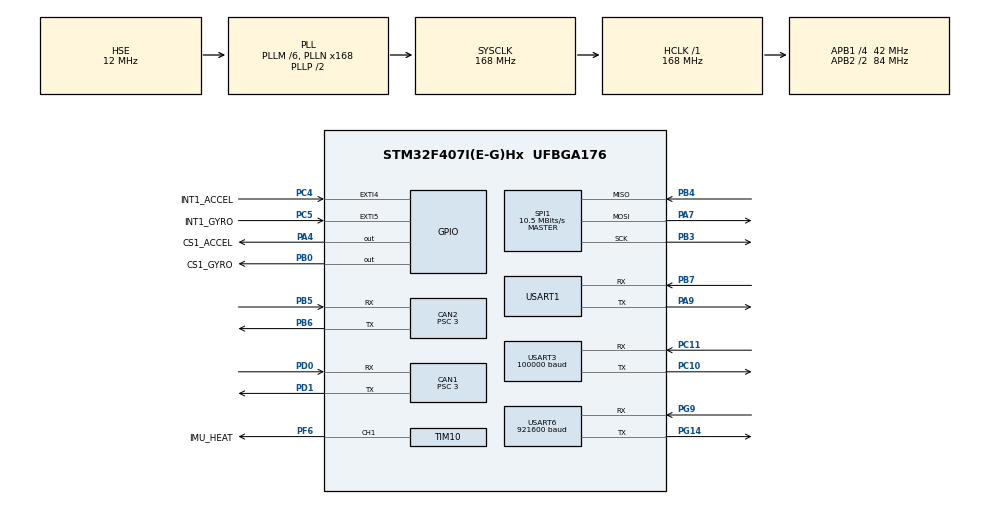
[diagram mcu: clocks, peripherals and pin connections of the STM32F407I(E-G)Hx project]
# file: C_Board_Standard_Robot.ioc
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CAN1.BS1=CAN_BS1_10TQ
CAN1.BS2=CAN_BS2_3TQ
CAN1.CalculateBaudRate=1000000
CAN1.CalculateTimeBit=1000
CAN1.CalculateTimeQuantum=71.42857142857143
CAN1.Prescaler=3
CAN2.BS1=CAN_BS1_10TQ
CAN2.BS2=CAN_BS2_3TQ
CAN2.CalculateBaudRate=1000000
CAN2.CalculateTimeBit=1000
CAN2.CalculateTimeQuantum=71.42857142857143
CAN2.Prescaler=3
Dma.Request0=SPI1_RX
Dma.Request1=SPI1_TX
Dma.Request2=USART3_RX
Dma.Request3=USART6_RX
Dma.Request4=USART6_TX
Dma.SPI1_RX.0.Direction=DMA_PERIPH_TO_MEMORY
Dma.SPI1_RX.0.FIFOMode=DMA_FIFOMODE_DISABLE
Dma.SPI1_RX.0.Instance=DMA2_Stream2
Dma.SPI1_RX.0.MemDataAlignment=DMA_MDATAALIGN_BYTE
Dma.SPI1_RX.0.MemInc=DMA_MINC_ENABLE
Dma.SPI1_RX.0.Mode=DMA_NORMAL
Dma.SPI1_RX.0.PeriphDataAlignment=DMA_PDATAALIGN_BYTE
Dma.SPI1_RX.0.PeriphInc=DMA_PINC_DISABLE
Dma.SPI1_RX.0.Priority=DMA_PRIORITY_VERY_HIGH
Dma.SPI1_TX.1.Direction=DMA_MEMORY_TO_PERIPH
Dma.SPI1_TX.1.FIFOMode=DMA_FIFOMODE_DISABLE
Dma.SPI1_TX.1.Instance=DMA2_Stream3
Dma.SPI1_TX.1.MemDataAlignment=DMA_MDATAALIGN_BYTE
Dma.SPI1_TX.1.MemInc=DMA_MINC_ENABLE
Dma.SPI1_TX.1.Mode=DMA_NORMAL
Dma.SPI1_TX.1.PeriphDataAlignment=DMA_PDATAALIGN_BYTE
Dma.SPI1_TX.1.PeriphInc=DMA_PINC_DISABLE
Dma.SPI1_TX.1.Priority=DMA_PRIORITY_HIGH
Dma.USART3_RX.2.Direction=DMA_PERIPH_TO_MEMORY
Dma.USART3_RX.2.FIFOMode=DMA_FIFOMODE_DISABLE
Dma.USART3_RX.2.Instance=DMA1_Stream1
Dma.USART3_RX.2.MemDataAlignment=DMA_MDATAALIGN_BYTE
Dma.USART3_RX.2.MemInc=DMA_MINC_ENABLE
Dma.USART3_RX.2.Mode=DMA_CIRCULAR
Dma.USART3_RX.2.PeriphDataAlignment=DMA_PDATAALIGN_BYTE
Dma.USART3_RX.2.PeriphInc=DMA_PINC_DISABLE
Dma.USART3_RX.2.Priority=DMA_PRIORITY_VERY_HIGH
Dma.USART6_RX.3.Direction=DMA_PERIPH_TO_MEMORY
Dma.USART6_RX.3.FIFOMode=DMA_FIFOMODE_DISABLE
Dma.USART6_RX.3.Instance=DMA2_Stream1
Dma.USART6_RX.3.MemDataAlignment=DMA_MDATAALIGN_BYTE
Dma.USART6_RX.3.MemInc=DMA_MINC_ENABLE
Dma.USART6_RX.3.Mode=DMA_CIRCULAR
Dma.USART6_RX.3.PeriphDataAlignment=DMA_PDATAALIGN_BYTE
Dma.USART6_RX.3.PeriphInc=DMA_PINC_DISABLE
Dma.USART6_RX.3.Priority=DMA_PRIORITY_HIGH
Dma.USART6_TX.4.Direction=DMA_MEMORY_TO_PERIPH
Dma.USART6_TX.4.FIFOMode=DMA_FIFOMODE_DISABLE
Dma.USART6_TX.4.Instance=DMA2_Stream6
Dma.USART6_TX.4.MemDataAlignment=DMA_MDATAALIGN_BYTE
Dma.USART6_TX.4.MemInc=DMA_MINC_ENABLE
Dma.USART6_TX.4.Mode=DMA_CIRCULAR
Dma.USART6_TX.4.PeriphDataAlignment=DMA_PDATAALIGN_BYTE
Dma.USART6_TX.4.PeriphInc=DMA_PINC_DISABLE
Dma.USART6_TX.4.Priority=DMA_PRIORITY_LOW
FREERTOS.Queues01=myQueue01,16,uint16_t,0,Dynamic,NULL,NULL;myQueue02,16,uint16_t,0,Dynamic,NULL,NULL;myQueue03,16,uint16_t,0,Dynamic,NULL,NULL;myQueue04,16,uint16_t,0,Dynamic,NULL,NULL;myQueue05,16,uint16_t,0,Dynamic,NULL,NULL;myQueue06,16,uint16_t,0,Dynamic,NULL,NULL;myQueue07,16,uint16_t,0,Dynamic,NULL,NULL
FREERTOS.Tasks01=defaultTask,24,128,StartDefaultTask,Default,NULL,Dynamic,NULL,NULL;myTask02,25,128,StartTask02,Default,NULL,Dynamic,NULL,NULL;myTask03,8,128,StartTask03,Default,NULL,Dynamic,NULL,NULL;myTask04,41,128,StartTask04,Default,NULL,Dynamic,NULL,NULL;myTask05,25,128,StartTask05,Default,NULL,Dynamic,NULL,NULL;myTask06,26,128,StartTask06,Default,NULL,Dynamic,NULL,NULL;myTask07,25,128,StartTask07,Default,NULL,Dynamic,NULL,NULL;myTask08,40,128,StartTask08,Default,NULL,Dynamic,NULL,NULL
FREERTOS.configTOTAL_HEAP_SIZE=15360
Mcu.Family=STM32F4
Mcu.Name=STM32F407I(E-G)Hx
Mcu.Package=UFBGA176
NVIC.CAN1_RX0_IRQn=true\:5\:0\:false\:false\:true\:true\:true\:true\:true
NVIC.CAN1_RX1_IRQn=true\:5\:0\:false\:false\:true\:true\:true\:true\:true
NVIC.CAN1_TX_IRQn=true\:5\:0\:false\:false\:true\:true\:true\:true\:true
NVIC.CAN2_RX0_IRQn=true\:5\:0\:false\:false\:true\:true\:true\:true\:true
NVIC.CAN2_RX1_IRQn=true\:5\:0\:false\:false\:true\:true\:true\:true\:true
NVIC.CAN2_TX_IRQn=true\:5\:0\:false\:false\:true\:true\:true\:true\:true
NVIC.DMA1_Stream1_IRQn=true\:5\:0\:false\:false\:true\:true\:false\:true\:true
NVIC.DMA2_Stream1_IRQn=true\:5\:0\:false\:false\:true\:true\:false\:true\:true
NVIC.DMA2_Stream2_IRQn=true\:5\:0\:true\:false\:false\:true\:false\:true\:true
NVIC.DMA2_Stream3_IRQn=true\:5\:0\:true\:false\:false\:true\:false\:true\:true
NVIC.DMA2_Stream6_IRQn=true\:5\:0\:false\:false\:true\:true\:false\:true\:true
NVIC.EXTI4_IRQn=true\:5\:0\:true\:false\:true\:true\:true\:true\:true
NVIC.EXTI9_5_IRQn=true\:5\:0\:true\:false\:true\:true\:true\:true\:true
NVIC.PriorityGroup=NVIC_PRIORITYGROUP_4
NVIC.TIM2_IRQn=true\:15\:0\:false\:false\:true\:false\:false\:true\:true
NVIC.TimeBase=TIM2_IRQn
NVIC.TimeBaseIP=TIM2
NVIC.USART1_IRQn=true\:5\:0\:false\:false\:true\:true\:true\:true\:true
NVIC.USART6_IRQn=true\:5\:0\:false\:false\:true\:true\:true\:true\:true
PA13.Mode=Serial_Wire
PA13.Signal=SYS_JTMS-SWDIO
PA14.Mode=Serial_Wire
PA14.Signal=SYS_JTCK-SWCLK
PA4.GPIO_Label=CS1_ACCEL
PA4.GPIO_PuPd=GPIO_PULLUP
PA4.GPIO_Speed=GPIO_SPEED_FREQ_HIGH
PA4.PinState=GPIO_PIN_SET
PA4.Signal=GPIO_Output
PA7.GPIO_PuPd=GPIO_PULLUP
PA7.Mode=Full_Duplex_Master
PA7.Signal=SPI1_MOSI
PA9.Mode=Asynchronous
PA9.Signal=USART1_TX
PB0.GPIO_Label=CS1_GYRO
PB0.GPIO_PuPd=GPIO_PULLUP
PB0.GPIO_Speed=GPIO_SPEED_FREQ_HIGH
PB0.PinState=GPIO_PIN_SET
PB0.Signal=GPIO_Output
PB3.GPIO_PuPd=GPIO_PULLUP
PB3.Mode=Full_Duplex_Master
PB3.Signal=SPI1_SCK
PB4.GPIO_PuPd=GPIO_PULLUP
PB4.Mode=Full_Duplex_Master
PB4.Signal=SPI1_MISO
PB5.Mode=CAN_Activate
PB5.Signal=CAN2_RX
PB6.Mode=CAN_Activate
PB6.Signal=CAN2_TX
PB7.Mode=Asynchronous
PB7.Signal=USART1_RX
PC10.Mode=Asynchronous
PC10.Signal=USART3_TX
PC11.Mode=Asynchronous
PC11.Signal=USART3_RX
PC4.GPIO_Label=INT1_ACCEL
PC4.GPIO_ModeDefaultEXTI=GPIO_MODE_IT_FALLING
PC4.GPIO_PuPd=GPIO_PULLUP
PC4.Signal=GPXTI4
PC5.GPIO_Label=INT1_GYRO
PC5.GPIO_ModeDefaultEXTI=GPIO_MODE_IT_FALLING
PC5.GPIO_PuPd=GPIO_PULLUP
PC5.Signal=GPXTI5
PD0.Mode=CAN_Activate
PD0.Signal=CAN1_RX
PD1.Mode=CAN_Activate
PD1.Signal=CAN1_TX
PF6.GPIO_Label=IMU_HEAT
PF6.GPIO_PuPd=GPIO_PULLUP
PF6.GPIO_Speed=GPIO_SPEED_FREQ_HIGH
PF6.Signal=S_TIM10_CH1
PG14.Mode=Asynchronous
PG14.Signal=USART6_TX
PG9.Mode=Asynchronous
PG9.Signal=USART6_RX
PH0-OSC_IN.Mode=HSE-External-Oscillator
PH0-OSC_IN.Signal=RCC_OSC_IN
PH1-OSC_OUT.Mode=HSE-External-Oscillator
PH1-OSC_OUT.Signal=RCC_OSC_OUT
ProjectManager.HeapSize=0x2000
ProjectManager.StackSize=0x2000
ProjectManager.TargetToolchain=MDK-ARM V5.32
RCC.48MHZClocksFreq_Value=48000000
RCC.AHBFreq_Value=168000000
RCC.APB1CLKDivider=RCC_HCLK_DIV4
RCC.APB1Freq_Value=42000000
RCC.APB1TimFreq_Value=84000000
RCC.APB2CLKDivider=RCC_HCLK_DIV2
RCC.APB2Freq_Value=84000000
RCC.APB2TimFreq_Value=168000000
RCC.CortexFreq_Value=168000000
RCC.HCLKFreq_Value=168000000
RCC.HSE_VALUE=12000000
RCC.HSI_VALUE=16000000
RCC.LSE_VALUE=32768
RCC.PLLM=6
RCC.PLLN=168
RCC.PLLQ=7
RCC.PLLSourceVirtual=RCC_PLLSOURCE_HSE
RCC.RCC_RTC_Clock_SourceVirtual=RCC_RTCCLKSOURCE_HSE_DIV30
RCC.RCC_RTC_Clock_Source_FROM_HSE=RCC_RTCCLKSOURCE_HSE_DIV30
RCC.SYSCLKFreq_VALUE=168000000
RCC.SYSCLKSource=RCC_SYSCLKSOURCE_PLLCLK
RCC.VCOOutputFreq_Value=336000000
SH.S_TIM10_CH1.0=TIM10_CH1,PWM Generation1 CH1
SPI1.BaudRatePrescaler=SPI_BAUDRATEPRESCALER_8
SPI1.CLKPhase=SPI_PHASE_2EDGE
SPI1.CLKPolarity=SPI_POLARITY_HIGH
SPI1.CalculateBaudRate=10.5 MBits/s
SPI1.Direction=SPI_DIRECTION_2LINES
SPI1.Mode=SPI_MODE_MASTER
SPI1.VirtualType=VM_MASTER
TIM10.Channel=TIM_CHANNEL_1
TIM10.Period=2000-1
TIM10.Prescaler=84-1
USART1.VirtualMode=VM_ASYNC
USART3.BaudRate=100000
USART3.VirtualMode=VM_ASYNC
USART3.WordLength=WORDLENGTH_8B
USART6.BaudRate=921600
USART6.VirtualMode=VM_ASYNC
VP_FREERTOS_VS_CMSIS_V2.Mode=CMSIS_V2
VP_SYS_VS_tim2.Mode=TIM2
VP_TIM10_VS_ClockSourceINT.Mode=Enable_Timer
board=custom

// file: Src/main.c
/* USER CODE BEGIN Header */
/**
 ******************************************************************************
 * @file           : main.c
 * @brief          : Main program body
 ******************************************************************************
 * @attention
 *
 * <h2><center>&copy; Copyright (c) 2021 STMicroelectronics.
 * All rights reserved.</center></h2>
 *
 * This software component is licensed by ST under Ultimate Liberty license
 * SLA0044, the "License"; You may not use this file except in compliance with
 * the License. You may obtain a copy of the License at:
 *                             www.st.com/SLA0044
 *
 ******************************************************************************
 */
/* USER CODE END Header */
#include "main.h"
#include "cmsis_os.h"
#include "can.h"
#include "dma.h"
#include "spi.h"
#include "tim.h"
#include "usart.h"
#include "gpio.h"

/* USER CODE BEGIN Includes */
#include "BMI088driver.h"
#include "bsp_dwt.h"
#include "ins_task.h"

/* USER CODE END Includes */

/* USER CODE BEGIN PTD */
RC_Ctl_t RC_Ctl,RC_Ctl2;
uint16_t CAN2_data[8];
RC rc_Ctrl;
uint8_t Rx_data[18];
/* USER CODE END PTD */

void SystemClock_Config(void);
void MX_FREERTOS_Init(void);

int main(void)
{

  /* MCU Configuration--------------------------------------------------------*/

  /* Reset of all peripherals, Initializes the Flash interface and the Systick. */
  HAL_Init();

  /* Configure the system clock */
  SystemClock_Config();

  /* Initialize all configured peripherals */
  MX_GPIO_Init();
  MX_DMA_Init();
  MX_SPI1_Init();
  MX_TIM10_Init();
  MX_CAN1_Init();
  MX_CAN2_Init();
  MX_USART1_UART_Init();
  MX_USART3_UART_Init();
  MX_USART6_UART_Init();
  /* USER CODE BEGIN 2 */

   DWT_Init(168);
   while (BMI088_init(&hspi1, 1) != BMI088_NO_ERROR);
	HAL_Delay(2000);
  /* USER CODE END 2 */

  /* Init scheduler */
  osKernelInitialize();  /* Call init function for freertos objects (in cmsis_os2.c) */
  MX_FREERTOS_Init();

  /* Start scheduler */
  osKernelStart();

  /* We should never get here as control is now taken by the scheduler */

  /* Infinite loop */
    while (1)
    {

    }
}

void SystemClock_Config(void)
{
  RCC_OscInitTypeDef RCC_OscInitStruct = {0};
  RCC_ClkInitTypeDef RCC_ClkInitStruct = {0};

  /** Configure the main internal regulator output voltage
  */
  __HAL_RCC_PWR_CLK_ENABLE();
  __HAL_PWR_VOLTAGESCALING_CONFIG(PWR_REGULATOR_VOLTAGE_SCALE1);

  /** Initializes the RCC Oscillators according to the specified parameters
  * in the RCC_OscInitTypeDef structure.
  */
  RCC_OscInitStruct.OscillatorType = RCC_OSCILLATORTYPE_HSE;
  RCC_OscInitStruct.HSEState = RCC_HSE_ON;
  RCC_OscInitStruct.PLL.PLLState = RCC_PLL_ON;
  RCC_OscInitStruct.PLL.PLLSource = RCC_PLLSOURCE_HSE;
  RCC_OscInitStruct.PLL.PLLM = 6;
  RCC_OscInitStruct.PLL.PLLN = 168;
  RCC_OscInitStruct.PLL.PLLP = RCC_PLLP_DIV2;
  RCC_OscInitStruct.PLL.PLLQ = 7;
  if (HAL_RCC_OscConfig(&RCC_OscInitStruct) != HAL_OK)
  {
    Error_Handler();
  }

  /** Initializes the CPU, AHB and APB buses clocks
  */
  RCC_ClkInitStruct.ClockType = RCC_CLOCKTYPE_HCLK|RCC_CLOCKTYPE_SYSCLK
                              |RCC_CLOCKTYPE_PCLK1|RCC_CLOCKTYPE_PCLK2;
  RCC_ClkInitStruct.SYSCLKSource = RCC_SYSCLKSOURCE_PLLCLK;
  RCC_ClkInitStruct.AHBCLKDivider = RCC_SYSCLK_DIV1;
  RCC_ClkInitStruct.APB1CLKDivider = RCC_HCLK_DIV4;
  RCC_ClkInitStruct.APB2CLKDivider = RCC_HCLK_DIV2;

  if (HAL_RCC_ClockConfig(&RCC_ClkInitStruct, FLASH_LATENCY_5) != HAL_OK)
  {
    Error_Handler();
  }
}

void HAL_TIM_PeriodElapsedCallback(TIM_HandleTypeDef *htim)
{
  if (htim->Instance == TIM2)
  {
    HAL_IncTick();
  }
}

void Error_Handler(void)
{
}

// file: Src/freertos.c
/* USER CODE BEGIN Header */
/*该项目为秦风战队2026赛季工程挑战赛最终版代码
该项目使用c板为主控板，用freertos为模板，共分为8个任务，每个任务的内容在对应的任务前进行说明，
机器人使用全部为达妙电机。控制逻辑大部分为重补,阻力补偿加pid，只有大臂上使用了前馈来帮助pid。*/
/**
  ******************************************************************************
  * File Name          : freertos.c
  * Description        : Code for freertos applications
  ******************************************************************************
  * @attention
  *
  * Copyright (c) 2025 STMicroelectronics.
  * All rights reserved.
  *
  * This software is licensed under terms that can be found in the LICENSE file
  * in the root directory of this software component.
  * If no LICENSE file comes with this software, it is provided AS-IS.
  *
  ******************************************************************************
  */
/* USER CODE END Header */

#include "FreeRTOS.h"
#include "task.h"
#include "main.h"
#include "cmsis_os.h"

/* USER CODE BEGIN Includes */
#include "ins_task.h"
#include "drv_can.h"
#include "stdio.h"
#include "pid.h"
#include "string.h"
#include <stdlib.h>
#include <stdarg.h>
#include "motor.h"
#include "motor_can.h"
#include "dm_motor_drv.h"
#include "dm_motor_ctrl.h"
#include "properties.h"
#include "protect_Test.h"
#include "bsp_uart6.h"
#include "rm_parser.h"
#include "crc.h"
//#include <math.h>

#include "queue.h"

/* USER CODE END Includes */

/* USER CODE BEGIN PTD */
pid_type_def motor_pid[7];//存储电机的pid值
pid_type_def motor_short_pid[3];//小臂pid值
pid_type_def motor_large_pid[3];//大臂pid值
pid_type_def diff_joint_speed_pid[4];
pid_type_def diff_joint_pos_pid[4];
pid_type_def motor_yaw_pid[2];
int16_t yaw_now;
uint8_t CAN2_YAW[3];
//#include "bsp_system.h"
/* USER CODE END PTD */

/* Definitions for defaultTask */
osThreadId_t defaultTaskHandle;
const osThreadAttr_t defaultTask_attributes = {
  .name = "defaultTask",
  .stack_size = 128 * 4,
  .priority = (osPriority_t) osPriorityNormal,
};
/* Definitions for myTask02 */
osThreadId_t myTask02Handle;
const osThreadAttr_t myTask02_attributes = {
  .name = "myTask02",
  .stack_size = 128 * 4,
  .priority = (osPriority_t) osPriorityNormal1,
};
/* Definitions for myTask03 */
osThreadId_t myTask03Handle;
const osThreadAttr_t myTask03_attributes = {
  .name = "myTask03",
  .stack_size = 128 * 4,
  .priority = (osPriority_t) osPriorityLow,
};
/* Definitions for myTask04 */
osThreadId_t myTask04Handle;
const osThreadAttr_t myTask04_attributes = {
  .name = "myTask04",
  .stack_size = 128 * 4,
  .priority = (osPriority_t) osPriorityHigh1,
};
/* Definitions for myTask05 */
osThreadId_t myTask05Handle;
const osThreadAttr_t myTask05_attributes = {
  .name = "myTask05",
  .stack_size = 128 * 4,
  .priority = (osPriority_t) osPriorityNormal1,
};
/* Definitions for myTask06 */
osThreadId_t myTask06Handle;
const osThreadAttr_t myTask06_attributes = {
  .name = "myTask06",
  .stack_size = 128 * 4,
  .priority = (osPriority_t) osPriorityNormal2,
};
/* Definitions for myTask07 */
osThreadId_t myTask07Handle;
const osThreadAttr_t myTask07_attributes = {
  .name = "myTask07",
  .stack_size = 128 * 4,
  .priority = (osPriority_t) osPriorityNormal1,
};
/* Definitions for myTask08 */
osThreadId_t myTask08Handle;
const osThreadAttr_t myTask08_attributes = {
  .name = "myTask08",
  .stack_size = 128 * 4,
  .priority = (osPriority_t) osPriorityHigh,
};
/* Definitions for myQueue01 */
osMessageQueueId_t myQueue01Handle;
const osMessageQueueAttr_t myQueue01_attributes = {
  .name = "myQueue01"
};
/* Definitions for myQueue02 */
osMessageQueueId_t myQueue02Handle;
const osMessageQueueAttr_t myQueue02_attributes = {
  .name = "myQueue02"
};
/* Definitions for myQueue03 */
osMessageQueueId_t myQueue03Handle;
const osMessageQueueAttr_t myQueue03_attributes = {
  .name = "myQueue03"
};
/* Definitions for myQueue04 */
osMessageQueueId_t myQueue04Handle;
const osMessageQueueAttr_t myQueue04_attributes = {
  .name = "myQueue04"
};
/* Definitions for myQueue05 */
osMessageQueueId_t myQueue05Handle;
const osMessageQueueAttr_t myQueue05_attributes = {
  .name = "myQueue05"
};
/* Definitions for myQueue06 */
osMessageQueueId_t myQueue06Handle;
const osMessageQueueAttr_t myQueue06_attributes = {
  .name = "myQueue06"
};
/* Definitions for myQueue07 */
osMessageQueueId_t myQueue07Handle;
const osMessageQueueAttr_t myQueue07_attributes = {
  .name = "myQueue07"
};

void StartDefaultTask(void *argument);
void StartTask02(void *argument);
void StartTask03(void *argument);
void StartTask04(void *argument);
void StartTask05(void *argument);
void StartTask06(void *argument);
void StartTask07(void *argument);
void StartTask08(void *argument);

void MX_FREERTOS_Init(void); /* (MISRA C 2004 rule 8.1) */

void MX_FREERTOS_Init(void) {

  /* Create the queue(s) */
  /* creation of myQueue01 */
  myQueue01Handle = osMessageQueueNew (16, sizeof(uint16_t), &myQueue01_attributes);

  /* creation of myQueue02 */
  myQueue02Handle = osMessageQueueNew (16, sizeof(uint16_t), &myQueue02_attributes);

  /* creation of myQueue03 */
  myQueue03Handle = osMessageQueueNew (16, sizeof(uint16_t), &myQueue03_attributes);

  /* creation of myQueue04 */
  myQueue04Handle = osMessageQueueNew (16, sizeof(uint16_t), &myQueue04_attributes);

  /* creation of myQueue05 */
  myQueue05Handle = osMessageQueueNew (16, sizeof(uint16_t), &myQueue05_attributes);

  /* creation of myQueue06 */
  myQueue06Handle = osMessageQueueNew (16, sizeof(uint16_t), &myQueue06_attributes);

  /* creation of myQueue07 */
  myQueue07Handle = osMessageQueueNew (16, sizeof(uint16_t), &myQueue07_attributes);

  /* USER CODE BEGIN RTOS_QUEUES */
	//static const RC_Ctl_t dummy = {0};           // 零开销，只编译期用
//	myQueue01Handle = osMessageQueueNew (256, sizeof(RC), &myQueue01_attributes);
  /* add queues, ... */
  /* USER CODE END RTOS_QUEUES */

  /* Create the thread(s) */
  /* creation of defaultTask */
  defaultTaskHandle = osThreadNew(StartDefaultTask, NULL, &defaultTask_attributes);

  /* creation of myTask02 */
  myTask02Handle = osThreadNew(StartTask02, NULL, &myTask02_attributes);

  /* creation of myTask03 */
  myTask03Handle = osThreadNew(StartTask03, NULL, &myTask03_attributes);

  /* creation of myTask04 */
  myTask04Handle = osThreadNew(StartTask04, NULL, &myTask04_attributes);

  /* creation of myTask05 */
  myTask05Handle = osThreadNew(StartTask05, NULL, &myTask05_attributes);

  /* creation of myTask06 */
  myTask06Handle = osThreadNew(StartTask06, NULL, &myTask06_attributes);

  /* creation of myTask07 */
  myTask07Handle = osThreadNew(StartTask07, NULL, &myTask07_attributes);

  /* creation of myTask08 */
  myTask08Handle = osThreadNew(StartTask08, NULL, &myTask08_attributes);

}

/* USER CODE BEGIN Header_StartDefaultTask */
float speed_now,speed_set,tor_speed,tor_ref,POS_now,POS_set,mo3_t,pit_try,roll_try,derta_1,start_pitch,start_roll,large_pitch_pos,pos_4310;
char pitch_try;
float short_pitch_zero,pitch_zero,POS_2,error,Centrifugal_force_3,cos_roll,diff_joint_cp;
float roll_set,speed2_last,speed3_last,tor2,speed_zhuazi_last;
int16_t zhuazi_cur=-2000,speed_zhuazi,count_short=0,pos_zhuazi,send_2006_output[2];
uint8_t Data[8],flag_chasu_reset=1,differential_count=0;
float zhongbu3;
float diff_joint_speed[2],diff_joint_speed_ref[2],diff_joint_pos[2],diff_joint_pos_ref[2],speed_2006_left,speed_2006_right;//索引0为绕x轴旋转，索引1为y绕轴旋转
static uint8_t flag_arm;

/**
  * @brief  Function implementing the defaultTask thread.
  * @param  argument: Not used
  * @retval None
  */
/* USER CODE END Header_StartDefaultTask */
//该任务首先使能全部的电机，具有顺序。该项目只用于控制大臂，小臂上的8009p和roll轴上的dm4310。
//由于时间紧急，只有roll轴和小臂上的初始化位置有先后顺序，先使roll轴回到初始点，再使小pitch回到初始点
void StartDefaultTask(void *argument)
{
  /* USER CODE BEGIN StartDefaultTask */
	RC RC_Ctl_dsp;
	uint8_t flag_start=0,count_limit=0;

	uint16_t count=0;

	CAN_Init(&hcan1,CAN1_Motor_Call_Back);
	CAN_Init(&hcan2,CAN2_Motor_Call_Back);
	dm_motor_init();
	INS_Init();

	while(count<1200)//先等待陀螺仪稳定，待陀螺仪稳定后才会继续任务
	{
		INS_Task();
		count++;
	}
//	roll_set=INS.Roll;
	start_roll=INS.Roll;
//	dm_motor_enable(&hcan1, &motor[Motor1]);//达妙电机初始化

	while(motor[Motor2].para.state==0)
	{
		dm_motor_enable(&hcan1, &motor[Motor2]);
		HAL_Delay(100);
	}
	while(motor[Motor5].para.state==0)
	{
		dm_motor_enable(&hcan2, &motor[Motor5]);
		HAL_Delay(100);
	}
	while(motor[Motor6].para.state==0)
	{
		dm_motor_enable(&hcan2, &motor[Motor6]);
		HAL_Delay(100);
	}
	while(motor[Motor7].para.state==0)
	{
		dm_motor_enable(&hcan2, &motor[Motor7]);
		HAL_Delay(100);
	}
	while(motor[Motor4].para.state==0)
	{
		dm_motor_enable(&hcan1, &motor[Motor4]);
		HAL_Delay(100);
	}
	while(motor[Motor3].para.state==0)
	{
		dm_motor_enable(&hcan1, &motor[Motor3]);
		HAL_Delay(100);
	}
	while(motor[Motor1].para.state==0)
	{
		dm_motor_enable(&hcan1, &motor[Motor1]);
		HAL_Delay(100);
	}

//	osDelay(10);
//	dm_motor_enable(&hcan1, &motor[Motor1]);
//	osDelay(10);

//	short_pitch_zero=motor[Motor3].para.pos;
	roll_set=roll_initial;//设置小pitch轴初始化角度
//	save_pos_zero(&hcan1,motor[Motor4].id,1);//编码器初始为0
//	save_pos_zero(&hcan1,motor[Motor3].id,1);
//	save_pos_zero(&hcan1,motor[Motor2].id,1);
//	save_pos_zero(&hcan1,motor[Motor1].id,1);
	osDelay(2);

	pid_init(&motor_pid[2],11.f,0.f,0.f,0,0);//左边2006速度环
	pid_init(&motor_pid[3],11.f,0.f,0.f,0,0);//右边2006速度环

	pid_init(&motor_short_pid[0],1.2f,0.004f,0.3f,0.027f,9);//小臂速度环
	pid_init(&motor_short_pid[1],0.154f,0.f,0.04f,0.f,20);//小臂位置环

	pid_init(&motor_large_pid[0],1.35f,0.001f,0.f,0.02f,9);//大臂速度环
	pid_init(&motor_large_pid[1],8.f,0.03f,3.1f,0.1f,3.f);//大臂位置环

	HAL_UART_Receive_DMA(&huart3,Rx_data,18);

	HAL_UART_Receive_DMA(&huart6, dma_rx_buffer, DMA_RX_BUF_SIZE);
	rm_parser_init();
//	osDelay(500);
  /* Infinite loop */
  for(;;)
  {
		if(flag_start==2)
		{

			if((rc_Ctrl.s2==2)&&(rc_Ctrl.s1!=1))
			{
				flag_arm=1;//使用遥控器控制YAW和Pitch_large
			}
			else if((rc_Ctrl.s1==3)&&(rc_Ctrl.s2==3))
			{
				flag_arm=2;//使用遥控器控制其他几个轴
			}
			else if(rc_Ctrl.s1==1)
			{
				if(rc_Ctrl.s2==1)
				{
					flag_arm=3;//使用键鼠模式
				}
				else
				{
					flag_arm=4;//机械臂停止运动
				}
//				flag_arm=4;
			}

			//以下内容为给机械臂设置目标值
			switch(flag_arm)
			{
				case 1:
				{
					motor[Motor2].ctrl.pos_set+=rc_Ctrl.ch1/100000.f;
					LIMIT_MIN_MAX(motor[Motor2].ctrl.pos_set,Pitch_large_MIN,Pitch_large_MAX);
//					motor[Motor2].ctrl.vel_set=rc_Ctrl.ch1*0.0015f;
//					if((motor[Motor2].para.pos>Pitch_large_MAX)||(motor[Motor2].para.pos<Pitch_large_MIN))
//					{
//						motor[Motor2].ctrl.vel_set=0;
//					}
					break;
				}
				case 2:
				{
					motor[Motor4].ctrl.pos_set+=rc_Ctrl.ch0/50000.f;
					LIMIT_MIN_MAX(motor[Motor4].ctrl.pos_set,-12.4f,12.4f);
					roll_set+=rc_Ctrl.ch1/1000.f;
//					motor[Motor3].ctrl.vel_set=rc_Ctrl.ch1*0.006f;
//					motor[Motor3].ctrl.pos_set+=rc_Ctrl.ch1/50000.f;
//					motor[Motor3].ctrl.pos_set=PI*(roll_set-INS.Roll)/180.f+short_pitch_zero;
					motor[Motor3].ctrl.kp_set=0;
					LIMIT_MIN_MAX(roll_set,-60.f,70.f);
//					if(INS.Roll>80.f)
//					{
//						motor[Motor3].ctrl.vel_set=0;
//					}

					break;
				}
				case 3:
				{
					roll_set=roll_initial+Data_float[1];
					motor[Motor4].ctrl.pos_set=row_dm+Data_float[4];
					motor[Motor2].ctrl.pos_set=L_Pitch_dm+Data_float[2];
					LIMIT_MIN_MAX(motor[Motor4].ctrl.pos_set,-12.4f,12.4f);
					LIMIT_MIN_MAX(roll_set,-60.f,70.f);
					LIMIT_MIN_MAX(motor[Motor2].ctrl.pos_set,Pitch_large_MIN,Pitch_large_MAX);
					break;
				}
				case 4:
				{
					break;
				}
				default:
				{
					break;
				}
			}
			if(rc_Ctrl.s2!=0)
			{
//				speed_zhuazi=rc_Ctrl.ch4*0.255f;
//				pos_zhuazi+=rc_Ctrl.ch4*0.0255f;
//				LIMIT_MIN_MAX(pos_zhuazi,ZHUAZI_POS_MIN,ZHUAZI_POS_MAX);
			}

		}
//		else if(flag_start==0)
//		{
//			motor[Motor4].ctrl.pos_set=row_dm;//初始化电机零点
//		}
//		else if(flag_start==1)
//		{
//			motor[Motor3].ctrl.pos_set=S_Pitch_dm;
//		}
		//以下为roll轴的控制逻辑
		motor[Motor4].ctrl.vel_set=(motor[Motor4].ctrl.pos_set-motor[Motor4].para.pos)*10.5f;
		LIMIT_MIN_MAX(motor[Motor4].ctrl.vel_set,-motor[Motor4].tmp.VMAX,motor[Motor4].tmp.VMAX);//注意，达妙电机本身的示例函数没有自动限幅的功能
		motor[Motor4].ctrl.tor_set=(motor[Motor4].ctrl.vel_set-motor[Motor4].para.vel)*1.0f;
//		motor[Motor4].ctrl.tor_set=0;
//		motor_Compensation(&motor[Motor4],ROLL_CP,0.1f);
		LIMIT_MIN_MAX(motor[Motor4].ctrl.tor_set,-motor[Motor4].tmp.TMAX,motor[Motor4].tmp.TMAX);

		speed2_last=0.7*speed2_last+0.3*motor[Motor2].para.vel;//对两个电机进行简易滤波
		speed3_last=0.7*speed3_last+0.3*motor[Motor3].para.vel;
		//以下为小pitch轴的控制逻辑
		motor[Motor3].ctrl.vel_set=PID_calc(&motor_short_pid[1],roll_set,INS.Roll)+motor[Motor2].para.vel;
		LIMIT_MIN_MAX(motor[Motor3].ctrl.vel_set,-motor[Motor3].tmp.VMAX,motor[Motor3].tmp.VMAX);
		motor[Motor3].ctrl.tor_set=PID_calc(&motor_short_pid[0],motor[Motor3].ctrl.vel_set,speed3_last);
		cos_roll=arm_cos_f32(PI*INS.Roll/180.f);
		zhongbu3=Force_cp_short_pitch*cos_roll;
		motor[Motor3].ctrl.tor_set+=zhongbu3;//改点

		if(flag_zhuazi==1)//判断是否有夹起物块，并进行重力补偿
		{
			diff_joint_cp=0.175f*(Force_cp_4310+Force_cp_4310_bowl)*arm_cos_f32(INS.Roll/57.295779513f-(motor[Motor5].para.pos-diff_y_dm));
			diff_joint_cp+=Force_cp_Energy_Unit*0.33f*cos_roll;
		}
		else
		{
			diff_joint_cp=0.175f*Force_cp_4310*arm_cos_f32(INS.Roll/57.295779513f-(motor[Motor5].para.pos-diff_y_dm));
		}

		motor[Motor3].ctrl.tor_set+=diff_joint_cp;
//		motor[Motor3].ctrl.tor_set+=(motor_chassis[0].given_current-motor_chassis[2].given_current)*0.00018f;
		motor_Compensation(&motor[Motor3],S_Pitch_cp,0.1f);
		LIMIT_MIN_MAX(motor[Motor3].ctrl.tor_set,-motor[Motor3].tmp.TMAX,motor[Motor3].tmp.TMAX);

		//以下为大pitch轴的控制逻辑
		motor[Motor2].ctrl.vel_set=PID_calc(&motor_large_pid[1],motor[Motor2].ctrl.pos_set,motor[Motor2].para.pos);
		LIMIT_MIN_MAX(motor[Motor2].ctrl.vel_set,-motor[Motor2].tmp.VMAX,motor[Motor2].tmp.VMAX);
		POS_2=1.97f+motor[Motor2].para.pos;

		large_pitch_pos=arm_cos_f32(POS_2);
		motor[Motor2].ctrl.tor_set=PID_calc(&motor_large_pid[0],motor[Motor2].ctrl.vel_set,speed2_last);
		motor[Motor2].ctrl.tor_set+=(Force_cp_large_pitch*large_pitch_pos-zhongbu3-diff_joint_cp);//改点
		motor[Motor2].ctrl.tor_set+=(motor[Motor2].ctrl.vel_set*0.08f);//这是大臂上的重补
//		motor[Motor2].ctrl.tor_set=(Force_cp_large_pitch*large_pitch_pos+0.0001332f*Force_cp_4310*large_pitch_pos-zhongbu3-diff_joint_cp);
		if(flag_zhuazi==1)
		{
			motor[Motor2].ctrl.tor_set+=Force_cp_Energy_Unit*0.37f*large_pitch_pos;
		}
		//此处的前馈是用于补偿阻力
		if(motor[Motor2].ctrl.vel_set>0.1)
		{
			motor[Motor2].ctrl.tor_set+=L_Pitch_cp;
		}
		else if(motor[Motor2].ctrl.vel_set<(-0.1))
		{
			motor[Motor2].ctrl.tor_set-=L_Pitch_cp;
		}
		else
		{
			motor[Motor2].ctrl.tor_set+=(L_Pitch_cp*motor[Motor2].ctrl.vel_set/0.1f);
		}
//		motor_Compensation(&motor[Motor2],L_Pitch_cp,0.15f);
		LIMIT_MIN_MAX(motor[Motor2].ctrl.tor_set,-motor[Motor2].tmp.TMAX,motor[Motor2].tmp.TMAX);

		speed_now=motor[Motor2].para.vel;//全部为调试变量
		speed_set=motor[Motor2].ctrl.vel_set;
//		speed_now=motor_chassis[2].speed_rpm;
//		speed_set=speed_zhuazi;
//		tor_ref=motor_chassis[2].given_current;
//		tor_speed=zhuazi_cur;
		tor_speed=motor[Motor2].ctrl.tor_set;
		tor_ref  =motor[Motor2].para.tor;
		POS_set  =motor[Motor2].ctrl.pos_set;
		POS_now  =motor[Motor2].para.pos;
		roll_try=INS.Roll/PI;

//		if(motor_chassis[2].given_current<-1200)
//		{
//			count_limit++;
//		}
//
//		if(flag_chasu_reset==1)
//		{
//			send_2006_output[0]=-2000;
//			send_2006_output[1]=2000;
//		}
//		if((motor_chassis[2].given_current>1600)&&(motor_chassis[0].given_current<-1600))
//		{
//			differential_count++;
//		}
//		if((differential_count>10)&&(flag_chasu_reset==1))
//		{
//			send_2006_output[0]=0;
//			send_2006_output[1]=0;
//			flag_chasu_reset=0;
//			flag_start=3;
//
//		}
//		if(flag_start==0)
//		{

//			speed_zhuazi=PID_calc(&motor_pid[1],pos_zhuazi,motor_2006_pos[0]);
//			zhuazi_cur=PID_calc(&motor_pid[0],speed_zhuazi,speed_zhuazi_last);
//			if(pos_zhuazi>7000)
//			{
//				zhuazi_cur+=7000;
//			}

//			LIMIT_MIN_MAX(zhuazi_cur,-9800,9800);
//		}
//		POS_now=motor_2006_pos[1];
//		send_2006_output[0]=0;
//		send_2006_output[1]=0;

		if(((motor[Motor4].para.pos<(0.1f+motor[Motor4].ctrl.pos_set))&&(motor[Motor4].para.pos>(-0.1f+motor[Motor4].ctrl.pos_set)))&&(flag_start==0))
		{
			flag_start=1;
		}
		else if(((INS.Roll<(1.f+roll_set))&&(INS.Roll>(-1.f+roll_set)))&&(flag_start==1))
		{
			count_short++;
			if(count_short>20)
			{
				flag_start=2;
				roll_set=INS.Roll;
			}
//			pitch_zero=motor[Motor3].para.pos;
//			start_roll=roll_set;
//			short_pitch_zero=motor[Motor3].para.pos;
		}
		else if((flag_start==2)&&(count_limit>10))
		{
			flag_start=3;
			speed_zhuazi=0;
//			zero_2006[0]=motor_chassis[2].ecd;
		}

//		tor_speed=motor[Motor3].ctrl.tor_set+Force_cp_short_pitch*arm_cos_f32(PI*INS.Pitch/180.f);
//		motor[Motor3].ctrl.tor_set=0;

		switch(flag_arm)
		{
			case 4:
			{
				mit_ctrl(&hcan1,&motor[Motor4],motor[Motor4].id,0.f,0.f,0.f,0.f,0.f);
				mit_ctrl(&hcan1,&motor[Motor3],motor[Motor3].id,0.f,0.f,0.f,0.f,0.f);
				osDelay(1);
				mit_ctrl(&hcan1,&motor[Motor2],motor[Motor2].id,0.f,0,0.f,0,0.f);
//				mit_ctrl(&hcan1,&motor[Motor1],motor[Motor1].id,0.f,0,0.f,0,0.f);
				break;
			}
			default:
			{
				dm_motor_ctrl_send(&hcan1,&motor[Motor4]);
				dm_motor_ctrl_send(&hcan1,&motor[Motor3]);
				dm_motor_ctrl_send(&hcan1,&motor[Motor2]);

//				mit_ctrl(&hcan1,&motor[Motor4],motor[Motor4].id,0.f,0.f,0.f,0.f,0.f);
//				mit_ctrl(&hcan1,&motor[Motor3],motor[Motor3].id,0.f,0.f,0.f,0.f,0.f);
//				mit_ctrl(&hcan1,&motor[Motor2],motor[Motor2].id,0.f,0,0.f,0,0.f);
				break;
			}
		}

    osDelay(4);
  }
  /* USER CODE END StartDefaultTask */
}

/* USER CODE BEGIN Header_StartTask02 */

int a;
char flag_bihe=0;
/**
* @brief Function implementing the myTask02 thread.
* @param argument: Not used
* @retval None
*/
/* USER CODE END Header_StartTask02 */
//遥控器值的接收和处理
void StartTask02(void *argument)
{
  /* USER CODE BEGIN StartTask02 */
//	RC rc_Ctrl;//作为中间变量，传递处理过的遥控器值
	memset(&Data, 0, sizeof(Data[8]));
  /* Infinite loop */
  for(;;)
  {
		a++;
		RC_Ctl.rc.ch0 = (Rx_data[0]| (Rx_data[1] << 8)) & 0x07ff;
		RC_Ctl.rc.ch1 = ((Rx_data[1] >> 3) | (Rx_data[2] << 5)) & 0x07ff;
		RC_Ctl.rc.ch2 = ((Rx_data[2] >> 6) | (Rx_data[3] << 2) | (Rx_data[4] << 10)) & 0x07ff;
		RC_Ctl.rc.ch3 = ((Rx_data[4] >> 1) | (Rx_data[5] << 7)) & 0x07ff;
		RC_Ctl.rc.s1  = ((Rx_data[5] >> 4)& 0x000C) >> 2;
		RC_Ctl.rc.s2  = ((Rx_data[5] >> 4)& 0x0003);

		RC_Ctl.rc.ch4 = Rx_data[16] | (Rx_data[17] << 8);
		RC_Ctl.mouse.x = Rx_data[6] | (Rx_data[7] << 8);                    //!< Mouse X axis
		RC_Ctl.mouse.y = Rx_data[8] | (Rx_data[9] << 8);                    //!< Mouse Y axis
		RC_Ctl.mouse.z = Rx_data[10] | (Rx_data[11] << 8);                  //!< Mouse Z axis
		RC_Ctl.mouse.press_l = Rx_data[12];                                        //!< Mouse Left Is Press
		RC_Ctl.mouse.press_r = Rx_data[13];                                        //!< Mouse Right Is Press
		RC_Ctl.key.v = Rx_data[14] | (Rx_data[15] << 8);   			//!< KeyBoard value

		RC_Ctl.kb.bit.W=(RC_Ctl.key.v>>0)&0x0001;
		RC_Ctl.kb.bit.S=(RC_Ctl.key.v>>1)&0x0001;
		RC_Ctl.kb.bit.A=(RC_Ctl.key.v>>2)&0x0001;
		RC_Ctl.kb.bit.D=(RC_Ctl.key.v>>3)&0x0001;
		RC_Ctl.kb.bit.SHIFT=(RC_Ctl.key.v>>4)&0x0001;
		RC_Ctl.kb.bit.Q=(RC_Ctl.key.v>>6)&0x0001;
		RC_Ctl.kb.bit.E=(RC_Ctl.key.v>>7)&0x0001;
		RC_Ctl.kb.bit.V=(RC_Ctl.key.v>>14)&0x0001;
		RC_Ctl.kb.bit.B=(RC_Ctl.key.v>>15)&0x0001;

		if(RC_Ctl.kb.bit.B==1)
		{
			flag_bihe=1;
		}
		else if(RC_Ctl.kb.bit.V==1)
		{
			flag_bihe=0;
		}

		rc_Ctrl.ch0=RC_Ctl.rc.ch0-1024;
		rc_Ctrl.ch1=RC_Ctl.rc.ch1-1024;
		rc_Ctrl.ch2=RC_Ctl.rc.ch2-1024;
		rc_Ctrl.ch3=RC_Ctl.rc.ch3-1024;
		rc_Ctrl.ch4=RC_Ctl.rc.ch4-1024;
		rc_Ctrl.s1=RC_Ctl.rc.s1;
		rc_Ctrl.s2=RC_Ctl.rc.s2;

//		rm_parser_process();
//		xQueueSend(myQueue01Handle,&RC_Ctl.rc.ch0,portMAX_DELAY);
    osDelay(10);
  }
  /* USER CODE END StartTask02 */
}

/* USER CODE BEGIN Header_StartTask03 */
int b;

/**

* @brief Function implementing the myTask03 thread.
* @param argument: Not used
* @retval None
*/
/* USER CODE END Header_StartTask03 */
//陀螺仪值的处理
void StartTask03(void *argument)
{
  /* USER CODE BEGIN StartTask03 */

  /* Infinite loop */
  for(;;)
  {
		INS_Task();
		osDelay(3);
  }
  /* USER CODE END StartTask03 */
}

/* USER CODE BEGIN Header_StartTask04 */
int16_t vx,vy,v_w;
uint16_t v_x,v_y,v_W;
/**
* @brief Function implementing the myTask04 thread.
* @param argument: Not used
* @retval None
*/
/* USER CODE END Header_StartTask04 */
//双板通信数据处理
void StartTask04(void *argument)
{
  /* USER CODE BEGIN StartTask04 */

  /* Infinite loop */
  for(;;)
  {
		if((RC_Ctl.rc.s2!=1)||(RC_Ctl.rc.s1!=1))
		{
			if((RC_Ctl.rc.ch2<1685)&&(RC_Ctl.rc.ch2>363))
			{
				Data[0]=RC_Ctl.rc.ch2;
				Data[1]=RC_Ctl.rc.ch2>>8;
				Data[2]=RC_Ctl.rc.ch3;
				Data[3]=RC_Ctl.rc.ch3>>8;
				Data[4]=RC_Ctl.rc.ch0;
				Data[5]=RC_Ctl.rc.ch0>>8;
				Data[6]=(RC_Ctl.rc.s2<<2)|RC_Ctl.rc.s1;
			}
		}
		else
		{
			if(RC_Ctl.kb.bit.W==1)
			{
				vx=200;
			}
			else if(RC_Ctl.kb.bit.S==1)
			{
				vx=-200;
			}
			else
			{
				vx=0;
			}
			if(RC_Ctl.kb.bit.A==1)
			{
				vy=-200;
			}
			else if(RC_Ctl.kb.bit.D==1)
			{
				vy=200;
			}
			else
			{
				vy=0;
			}
			if(RC_Ctl.kb.bit.Q==1)
			{
				v_W=-120;
			}
			else if(RC_Ctl.kb.bit.E==1)
			{
				v_W=120;
			}
			else
			{
				v_W=0;
			}
			if(RC_Ctl.kb.bit.SHIFT==1)
			{
				vy*=2;
				vx*=2;
				v_W*=2;
			}
			v_w=1024+v_W;

//			v_w=1024+RC_Ctl.mouse.x;
			v_x=vx+1024;
			v_y=vy+1024;
			Data[0]=v_y;
			Data[1]=v_y>>8;
			Data[2]=v_x;
			Data[3]=v_x>>8;
			Data[4]=v_w;
			Data[5]=v_w>>8;
			Data[6]=(RC_Ctl.rc.s2<<2)|RC_Ctl.rc.s1;
		}
		CAN_Send_Data(&hcan1,0x115,Data,8);
		//建立队列，让该任务中的变量能够在别的任务中使用，先进先出，使得任务在使用变量时更安全，可理解为建立一个缓存区
//		xQueueSend(myQueue01Handle,&rc_ts,portMAX_DELAY);
    osDelay(20);
  }
  /* USER CODE END StartTask04 */
}

/* USER CODE BEGIN Header_StartTask05 */
float chasu_speed,chasu_speed_ref,opuput_chasu,chasu_pos,chasu_pos_ref;
float last_diff_speed[2];
/**
* @brief Function implementing the myTask05 thread.
* @param argument: Not used
* @retval None
*/
/* USER CODE END Header_StartTask05 */
//差速关节处的dm4310处理
void StartTask05(void *argument)
{
  /* USER CODE BEGIN StartTask05 */
	pid_init(&diff_joint_speed_pid[0],0.5f,0.006f,0,0.03f,9);// x轴旋转速度环
	pid_init(&diff_joint_speed_pid[1],0.5f,0.01f,0.f,0.06f,9);// y轴旋转速度环

	pid_init(&diff_joint_pos_pid[0],8.f,0.005f,0,0.15f,25);//x轴旋转位置环
	pid_init(&diff_joint_pos_pid[1],17.f,0.005f,0,0.3f,20);//y轴旋转位置环

  /* Infinite pid_init(&diff_joint_speed_pid[0],0,0,0,0,0);//右边速度环loop */
  for(;;)
  {
		if((RC_Ctl.rc.ch2!=0)&&(RC_Ctl.rc.s1==3))
		{
//			diff_joint_pos[0]+=rc_Ctrl.ch2/660.f;
//			diff_joint_pos[1]+=rc_Ctrl.ch3/660.f;
//			LIMIT_MIN_MAX(diff_joint_pos[0],-180,180);
//			LIMIT_MIN_MAX(diff_joint_pos[1],-70,70);
//			diff_joint_speed[0] =rc_Ctrl.ch3*1.5f;
//			diff_joint_speed[1] =-rc_Ctrl.ch3*1.5f;
			motor[Motor5].ctrl.pos_set-=rc_Ctrl.ch3/33000.f;
//			motor[Motor5].ctrl.vel_set=-rc_Ctrl.ch3/330.f;
			LIMIT_MIN_MAX(motor[Motor5].ctrl.pos_set,(diff_y_dm-1.6f),(diff_y_dm+1.6f));

			motor[Motor6].ctrl.pos_set+=rc_Ctrl.ch2/66000.f;
			LIMIT_MIN_MAX(motor[Motor6].ctrl.pos_set,(diff_x_dm-3.13f),(diff_x_dm+3.13f));
//			motor[Motor6].ctrl.vel_set=rc_Ctrl.ch2/330.f;

//			diff_joint_speed[1]+=rc_Ctrl.ch2*1.5f;
		}
		else if((RC_Ctl.rc.s1==1)&&(RC_Ctl.rc.s2==1))
		{
			motor[Motor5].ctrl.pos_set=diff_y_dm+Data_float[3];
			motor[Motor6].ctrl.pos_set=diff_x_dm+Data_float[0];
			LIMIT_MIN_MAX(motor[Motor5].ctrl.pos_set,(diff_y_dm-1.5f),(diff_y_dm+1.5f));
			LIMIT_MIN_MAX(motor[Motor6].ctrl.pos_set,(diff_x_dm-3.13f),(diff_x_dm+3.13f));

		}
//		motor[Motor5].ctrl.tor_set=PID_calc(&diff_joint_speed_pid[0],motor[Motor5].ctrl.vel_set,motor[Motor5].para.vel);

//		diff_joint_speed_ref[0]=-(motor_chassis[0].speed_rpm+motor_chassis[2].speed_rpm)/36.f;
//		diff_joint_speed_ref[1]=(motor_chassis[0].speed_rpm-motor_chassis[2].speed_rpm)/36.f;
//		diff_joint_pos_ref[0]=(-motor_2006_pos[2]-motor_2006_pos[1])/3276.8f;
//		diff_joint_pos_ref[1]=-12+(-motor_2006_pos[2]+motor_2006_pos[1])/1638.4f;
		motor[Motor6].ctrl.vel_set=PID_calc(&diff_joint_pos_pid[0],motor[Motor6].ctrl.pos_set,motor[Motor6].para.pos);
		motor[Motor6].ctrl.tor_set=PID_calc(&diff_joint_speed_pid[0],motor[Motor6].ctrl.vel_set,motor[Motor6].para.vel);

		motor[Motor5].ctrl.vel_set=PID_calc(&diff_joint_pos_pid[1],motor[Motor5].ctrl.pos_set,motor[Motor5].para.pos);
		motor[Motor5].ctrl.tor_set=PID_calc(&diff_joint_speed_pid[1],motor[Motor5].ctrl.vel_set,motor[Motor5].para.vel);
//		motor[Motor5].ctrl.tor_set+=(motor[Motor5].ctrl.vel_set*0.1f);
//
//		diff_joint_speed[0]=-PID_calc(&diff_joint_pos_pid[0],diff_joint_pos[0],diff_joint_pos_ref[0]);
//		diff_joint_speed[1]=diff_joint_speed[0];
//
//		diff_joint_pos_pid[1].out=PID_calc(&diff_joint_pos_pid[1],diff_joint_pos[1],diff_joint_pos_ref[1]);
//
//		diff_joint_speed[0]+=diff_joint_pos_pid[1].out;
//		diff_joint_speed[1]-=diff_joint_pos_pid[1].out;
//
//		last_diff_speed[0]=last_diff_speed[0]*0.7f+motor_chassis[0].speed_rpm*0.3f;
//		last_diff_speed[1]=last_diff_speed[1]*0.7f+motor_chassis[2].speed_rpm*0.3f;
//
//		send_2006_output[0]=PID_calc(&diff_joint_speed_pid[0],diff_joint_speed[0],last_diff_speed[0]);
//		send_2006_output[1]=PID_calc(&diff_joint_speed_pid[1],diff_joint_speed[1],last_diff_speed[1]);
//
////		send_2006_output[0]=0;
////		send_2006_output[1]=0;
//		//差速关节重补
//差速关节pitch上的重补需要对机器人进行dh参数的标定并且进行旋转矩阵的计算
		pos_4310=arm_cos_f32(-INS.Pitch/57.29578f)*arm_cos_f32(-INS.Roll/57.29578f)*arm_cos_f32(motor[Motor5].para.pos-diff_y_dm)-arm_sin_f32(INS.Roll/57.29578f)*arm_sin_f32(-motor[Motor5].para.pos+diff_y_dm);
		motor[Motor5].ctrl.tor_set-=Force_cp_4310*pos_4310; //改点
//		send_2006_output[0]+=Force_cp_4310*pos_4310;
//		send_2006_output[1]-=Force_cp_4310*pos_4310;
//
//
//
//		motor[Motor6].ctrl.tor_set=0;
		motor_Compensation(&motor[Motor5],differential_joint_y,differential_joint_y_speed);
		motor_Compensation(&motor[Motor6],differential_joint_x,differential_joint_x_speed);
//
		if(flag_zhuazi==1)
		{
			motor[Motor5].ctrl.tor_set-=Force_cp_4310_bowl*pos_4310;
//			send_2006_output[0]=8500;
//			send_2006_output[1]=-8500;
		}

		LIMIT_MIN_MAX(motor[Motor5].ctrl.tor_set,-9,9);
		LIMIT_MIN_MAX(motor[Motor6].ctrl.tor_set,-9,9);

		//以下变量仅在调试使用
		chasu_pos=motor[Motor5].ctrl.pos_set;
		chasu_pos_ref=motor[Motor5].para.pos;
		chasu_speed=motor[Motor5].ctrl.vel_set;
		chasu_speed_ref=motor[Motor5].para.vel;
		opuput_chasu=motor[Motor5].ctrl.tor_set;

//		if(flag_zhuazi==1)
//		{
//			motor[Motor5].ctrl.tor_set=5.f;
//		}
		dm_motor_ctrl_send(&hcan2,&motor[Motor6]);
		dm_motor_ctrl_send(&hcan2,&motor[Motor5]);
//		if(motor[Motor5].para.state==1)
//		{
//			mit_ctrl(&hcan2,&motor[Motor5],motor[Motor5].id,0.f,0.f,0.f,0.f,0.f);
//			mit_ctrl(&hcan2,&motor[Motor6],motor[Motor6].id,0.f,0.f,0.f,0.f,0.f);
//		}

//		CAN_cmd_chassis(send_2006_output[0],0,send_2006_output[1],0);//2006发送,差速关节
    osDelay(3);
  }
  /* USER CODE END StartTask05 */
}

/* USER CODE BEGIN Header_StartTask06 */
float speed_ref_zhuazi,speed_set_zhuazi,tor_set,tor_ref_zhuazi,zhuazi_pos,zhuazi_pos_ref;
/**
* @brief Function implementing the myTask06 thread.
* @param argument: Not used
* @retval None
*/
/* USER CODE END Header_StartTask06 */
//爪子处的处理
void StartTask06(void *argument)
{
  /* USER CODE BEGIN StartTask06 */
	pid_init(&motor_pid[0],0.4f,0.f,0.f,0.f,9);//爪子开收速度环
	pid_init(&motor_pid[1],9.f,0.f,0.f,0.f,9.f);//爪子开收位置环
  /* Infinite loop */
  for(;;)
  {
		if((RC_Ctl.rc.ch4!=0)&&(RC_Ctl.rc.s1==3))
		{
//			if(rc_Ctrl.ch4>500)
//			{
//				motor[Motor7].ctrl.pos_set=1.5f;
//			}
//			else if(rc_Ctrl.ch4<(-500))
//			{
//				motor[Motor7].ctrl.pos_set=0.2f;
//			}
			if(rc_Ctrl.ch4>(-670))
			{
				motor[Motor7].ctrl.pos_set+=(rc_Ctrl.ch4/66000.f);
			}
			LIMIT_MIN_MAX(motor[Motor7].ctrl.pos_set,ZHUAZI_POS_MIN,ZHUAZI_POS_MAX);
//			motor[Motor7].ctrl.vel_set=rc_Ctrl.ch4/330.f;
		}
		else if((RC_Ctl.rc.s1==1)&&(RC_Ctl.rc.s2==1))
		{
			if(flag_bihe==1)
			{
				motor[Motor7].ctrl.pos_set=-0.63f;
			}
			else if(flag_bihe==0)
			{
				motor[Motor7].ctrl.pos_set=-1.45f;
			}
			LIMIT_MIN_MAX(motor[Motor7].ctrl.pos_set,ZHUAZI_POS_MIN,ZHUAZI_POS_MAX);
		}
		motor[Motor7].ctrl.vel_set=PID_calc(&motor_pid[1],motor[Motor7].ctrl.pos_set,motor[Motor7].para.pos);
		speed_zhuazi_last=0.7f*speed_zhuazi_last+0.3f*motor[Motor7].para.vel;
		motor[Motor7].ctrl.tor_set=PID_calc(&motor_pid[0],motor[Motor7].ctrl.vel_set,speed_zhuazi_last);
		if((((motor[Motor7].para.tor>0.6f)&&(motor[Motor7].para.pos>-0.9f))&&(flag_zhuazi==0))&&(motor[Motor7].ctrl.pos_set>-0.9f))
		{
			flag_zhuazi=1;
		}
		else if((flag_zhuazi==1)&&(motor[Motor7].ctrl.pos_set<-1))
		{
			flag_zhuazi=0;
		}
		if(flag_zhuazi==1)
		{
			motor[Motor7].ctrl.tor_set=Force_advance_zhuazi;
		}
//		motor[Motor7].ctrl.tor_set=0;
		if(motor[Motor7].para.pos<(-1.36f))
		{
			motor_Compensation(&motor[Motor7],Zhuaizi_cp_big,0.1f);
		}
		else
		{
			motor_Compensation(&motor[Motor7],Zhuaizi_cp,0.1f);
		}

		zhuazi_pos=motor[Motor7].ctrl.pos_set;
		zhuazi_pos_ref=motor[Motor7].para.pos;
		speed_set_zhuazi=motor[Motor7].ctrl.vel_set;
		speed_ref_zhuazi=motor[Motor7].para.vel;
		tor_set=motor[Motor7].ctrl.tor_set;
		tor_ref_zhuazi=motor[Motor7].para.tor;
		dm_motor_ctrl_send(&hcan2,&motor[Motor7]);
//		if(motor[Motor5].para.state==1)
//		{
//			mit_ctrl(&hcan2,&motor[Motor7],motor[Motor7].id,0.f,0.f,0.f,0.f,0.f);
//		}
    osDelay(3);
  }
  /* USER CODE END StartTask06 */
}

//YAW轴控制
void StartTask07(void *argument)
{
  /* USER CODE BEGIN StartTask07 */
	pid_init(&motor_yaw_pid[0],1.25f,0.04f,0.2f,0.08f,9);
	pid_init(&motor_yaw_pid[1],5.2f,0.f,0.f,0.f,20);

  /* Infinite loop */
  for(;;)
  {
		if((flag_arm==1)&&(RC_Ctl.rc.s1!=2))//判断数据来源
		{
			motor[Motor1].ctrl.pos_set+=(RC_Ctl.rc.ch0-1024)/28000.f;
			LIMIT_MIN_MAX(motor[Motor1].ctrl.pos_set,(motor_YAW_zero-3.f),(motor_YAW_zero+3.f));
//			motor[Motor1].ctrl.vel_set=-YAW_speed*(RC_Ctl.rc.ch0-1024)/660.f;
		}
//		else if(flag_arm==3)
		else if((RC_Ctl.rc.s1==1)&&(RC_Ctl.rc.s2==1))
		{
			motor[Motor1].ctrl.pos_set=motor_YAW_zero+Data_float[5];
			LIMIT_MIN_MAX(motor[Motor1].ctrl.pos_set,(motor_YAW_zero-3.f),(motor_YAW_zero+3.f));
		}

		motor[Motor1].ctrl.vel_set=PID_calc(&motor_yaw_pid[1],motor[Motor1].ctrl.pos_set,motor[Motor1].para.pos);
		motor[Motor1].ctrl.tor_set=PID_calc(&motor_yaw_pid[0],motor[Motor1].ctrl.vel_set,motor[Motor1].para.vel);

//		motor[Motor1].ctrl.tor_set=0;
		motor_Compensation(&motor[Motor1],YAW_cp,0.1f);
		if(flag_arm==4)
		{
			mit_ctrl(&hcan1,&motor[Motor1],motor[Motor1].id,0.f,0,0.f,0,0.f);
		}
		else
		{
//			mit_ctrl(&hcan1,&motor[Motor1],motor[Motor1].id,0.f,0,0.f,0,0.f);
			dm_motor_ctrl_send(&hcan1,&motor[Motor1]);
		}
    osDelay(5);
  }
  /* USER CODE END StartTask07 */
}

void StartTask08(void *argument)
{
  /* USER CODE BEGIN StartTask08 */
  /* Infinite loop */
  for(;;)
  {
		rm_parser_process();//自定义控制器数据接收，参考上海大学文档以及AI
    osDelay(3);
  }
  /* USER CODE END StartTask08 */
}
